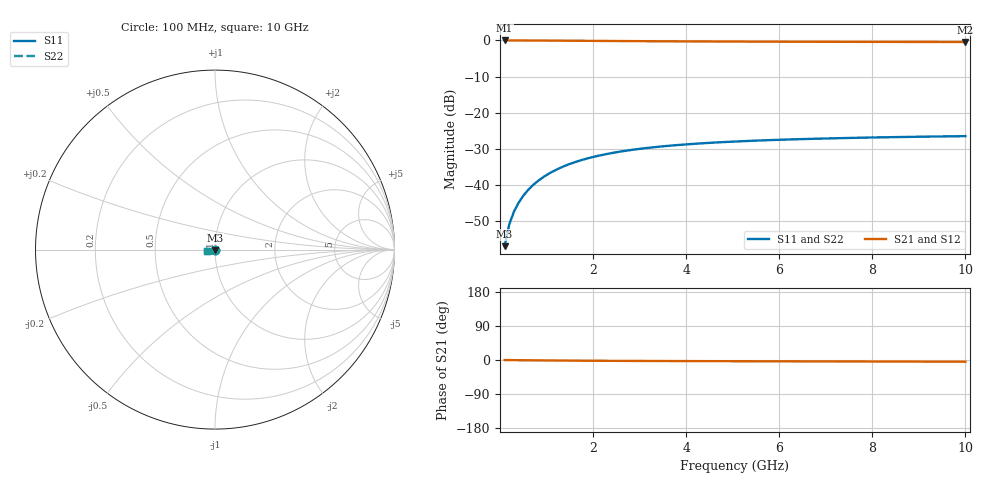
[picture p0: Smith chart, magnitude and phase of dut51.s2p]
! Touchstone file exported from HFSS 2024.1.0
!  File:  C:/UserFiles/LocalFiles/RDL_TSV_Batchsim/temp_TSV1_51_1779372090.aedt
!  Generated:  10:05:52 PM May 21, 2026
!  Design:  TSV1
!  Project:  temp_TSV1_51_1779372090
!  Setup:  Setup1
!  Solution:  Sweep
! Variables:
!  dtsv = 13.99um
!  hbump = 3um
!  htsv = 66.49um
!  lrdl = 252.1521522um
!  p = 40
!  p1 = 53.81um
!  t = 500um
!  trdl = 3um
!  wrdl = 24.89489489um
# GHz S MA R 50.000000
! Terminal data exported
! Port[1] = TSV22_T1
! Port[2] = TSV22_T2
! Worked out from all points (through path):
!   100 points, 100 MHz to 10 GHz, reference 50 ohm
!   highest |S21| = 0.00 dB at 100 MHz (marker M1); lowest = -0.4 dB at 10 GHz (marker M2)
!   lowest |S11| = -56.9 dB at 100 MHz (marker M3), VSWR 1.00, Z = 50 - j0.144 ohm
!   |S11| at or under -10 dB: start of sweep to end of sweep
!   |S22| runs from -56.9 to -26.4 dB; largest |S21 - S12| = 7.5e-15
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0.1  0.001435 -88.9  0.9999 -0.1  0.9999 -0.1  0.001435 -88.9
! Gamma 0 0 0 0
! Port Impedance 50 0 50 0
0.2  0.002869 -92.0  0.9997 -0.2  0.9997 -0.2  0.002869 -92.0
0.3  0.0043 -94.3  0.9995 -0.4  0.9995 -0.4  0.0043 -94.3
0.4  0.005722 -96.4  0.9991 -0.5  0.9991 -0.5  0.005722 -96.4
0.5  0.00713 -98.4  0.9987 -0.6  0.9987 -0.6  0.00713 -98.4
0.6  0.008517 -100.3  0.9982 -0.7  0.9982 -0.7  0.008517 -100.3
0.7  0.009881 -102.2  0.9976 -0.8  0.9976 -0.8  0.009881 -102.2
0.8  0.01122 -104.0  0.997 -0.9  0.997 -0.9  0.01122 -104.0
0.9  0.01252 -105.8  0.9963 -1.1  0.9963 -1.1  0.01252 -105.8
1.1  0.01503 -109.3  0.9948 -1.3  0.9948 -1.3  0.01503 -109.3
1.4  0.01853 -114.1  0.9922 -1.5  0.9922 -1.5  0.01853 -114.1
1.6  0.02067 -117.2  0.9904 -1.7  0.9904 -1.7  0.02067 -117.2
1.8  0.02266 -120.1  0.9885 -1.8  0.9885 -1.8  0.02266 -120.1
2.1  0.02537 -124.1  0.9856 -2.0  0.9856 -2.0  0.02537 -124.1
2.5  0.0285 -129.0  0.982 -2.3  0.982 -2.3  0.0285 -129.0
2.9  0.03116 -133.3  0.9786 -2.5  0.9786 -2.5  0.03116 -133.3
3.4  0.03393 -138.1  0.9747 -2.7  0.9747 -2.7  0.03393 -138.1
4.2  0.03737 -144.5  0.9696 -2.9  0.9696 -2.9  0.03737 -144.5
5.1  0.04023 -150.3  0.965 -3.2  0.965 -3.2  0.04023 -150.3
6.7  0.04369 -158.3  0.9591 -3.6  0.9591 -3.6  0.04369 -158.3
8.4  0.04605 -164.9  0.9551 -4.0  0.9551 -4.0  0.04605 -164.9
10  0.04759 -169.9  0.9524 -4.5  0.9524 -4.5  0.04759 -169.9
